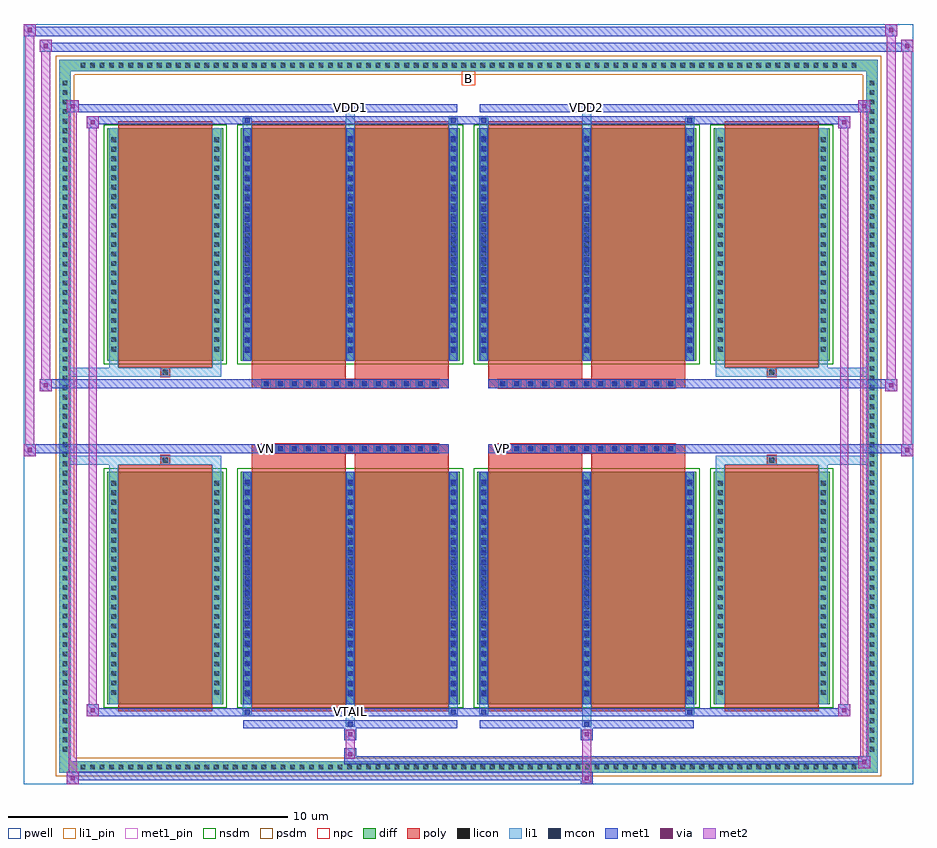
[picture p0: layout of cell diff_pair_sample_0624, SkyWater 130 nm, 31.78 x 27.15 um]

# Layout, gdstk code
import gdstk
lib = gdstk.Library(unit=1e-6, precision=5e-09)
def R(c, l, rs):  # rectangles x0, y0, x1, y1
    for r in rs: c.add(gdstk.rectangle(r[:2], r[2:], *l))
def A(c, l, x, y, w, h, nx, ny, dx, dy):  # array of equal rectangles
    R(c, l, [(x+i*dx, y+j*dy, x+i*dx+w, y+j*dy+h) for i in range(nx) for j in range(ny)])
def P(c, l, *ps):  # polygons
    for p in ps: c.add(gdstk.Polygon(p, *l))
pwell = (64, 44)
diff = (65, 20)
poly = (66, 20)
licon = (66, 44)
li1_pin = (67, 16)
li1 = (67, 20)
mcon = (67, 44)
met1_pin = (68, 16)
met1 = (68, 20)
via = (68, 44)
met2 = (69, 20)
nsdm = (93, 44)
psdm = (94, 20)
npc = (95, 20)

diff_pair_sample_0624 = lib.new_cell('diff_pair_sample_0624')
R(diff_pair_sample_0624, pwell, [(-15.89,-13.14,15.89,14.01), (-13.21,-11.33,-0.01,-0.795), (0.01,-11.33,13.21,-0.795), (-13.21,0.795,-0.01,11.33), (0.01,0.795,13.21,11.33)])
A(diff_pair_sample_0624, diff, -13.975, -12.74, 0.41, 0.41, 82, 2, 0.34, 25.07)
A(diff_pair_sample_0624, diff, -14.62, -12.105, 0.41, 0.41, 1, 71, 0, 0.34)
A(diff_pair_sample_0624, diff, 14.21, -12.105, 0.41, 0.41, 1, 71, 0, 0.34)
R(diff_pair_sample_0624, diff, [(-13.975,-12.74,13.975,-12.33), (-14.62,-12.105,-14.21,12.105), (14.21,-12.105,14.62,12.105), (-12.9,-10.285,-8.77,-1.985), (-8.13,-10.285,-0.32,-1.985), (0.32,-10.285,8.13,-1.985), (8.77,-10.285,12.9,-1.985), (-12.9,1.985,-8.77,10.285), (-8.13,1.985,-0.32,10.285), (0.32,1.985,8.13,10.285), (8.77,1.985,12.9,10.285), (-13.975,12.33,13.975,12.74)])
P(diff_pair_sample_0624, diff, [(14.62,12.74),(-14.62,12.74),(-14.62,-12.33),(-14.21,-12.33),(-14.21,12.33),(14.21,12.33),(14.21,-12.33),(-14.21,-12.33),(-14.62,-12.33),(-14.62,-12.74),(14.62,-12.74)])
A(diff_pair_sample_0624, poly, -7.39, -1.325, 0.33, 0.33, 13, 2, 0.5, 2.32)
A(diff_pair_sample_0624, poly, 1.06, -1.325, 0.33, 0.33, 13, 2, 0.5, 2.32)
R(diff_pair_sample_0624, poly, [(-12.51,-10.535,-9.16,-1.735), (-7.74,-10.535,-4.39,-1.735), (-4.06,-10.535,-0.71,-1.735), (0.71,-10.535,4.06,-1.735), (4.39,-10.535,7.74,-1.735), (9.16,-10.535,12.51,-1.735), (-11,-1.735,-10.67,-1.405), (-11,-1.735,-10.67,-1.405), (-7.74,-1.735,-4.39,-1.325), (-4.06,-1.735,-0.71,-1.325), (0.71,-1.735,4.06,-1.325), (4.39,-1.735,7.74,-1.325), (10.67,-1.735,11,-1.405), (10.67,-1.735,11,-1.405), (-7.74,-1.325,-0.71,-0.995), (0.71,-1.325,7.74,-0.995), (-7.74,0.995,-0.71,1.325), (0.71,0.995,7.74,1.325), (-7.74,1.325,-4.39,1.735), (-4.06,1.325,-0.71,1.735), (0.71,1.325,4.06,1.735), (4.39,1.325,7.74,1.735), (-11,1.405,-10.67,1.735), (-11,1.405,-10.67,1.735), (10.67,1.405,11,1.735), (10.67,1.405,11,1.735), (-12.51,1.735,-9.16,10.535), (-7.74,1.735,-4.39,10.535), (-4.06,1.735,-0.71,10.535), (0.71,1.735,4.06,10.535), (4.39,1.735,7.74,10.535), (9.16,1.735,12.51,10.535)])
A(diff_pair_sample_0624, licon, -13.855, -12.62, 0.17, 0.17, 82, 2, 0.34, 25.07)
A(diff_pair_sample_0624, licon, -14.5, -11.985, 0.17, 0.17, 1, 71, 0, 0.34)
A(diff_pair_sample_0624, licon, 14.33, -11.985, 0.17, 0.17, 1, 71, 0, 0.34)
A(diff_pair_sample_0624, licon, -12.76, -9.96, 0.17, 0.17, 1, 23, 0, 0.34)
A(diff_pair_sample_0624, licon, -9.08, -9.96, 0.17, 0.17, 1, 23, 0, 0.34)
A(diff_pair_sample_0624, licon, -7.99, -9.96, 0.17, 0.17, 3, 23, 3.68, 0.34)
A(diff_pair_sample_0624, licon, 0.46, -9.96, 0.17, 0.17, 3, 23, 3.68, 0.34)
A(diff_pair_sample_0624, licon, 8.91, -9.96, 0.17, 0.17, 1, 23, 0, 0.34)
A(diff_pair_sample_0624, licon, 12.59, -9.96, 0.17, 0.17, 1, 23, 0, 0.34)
A(diff_pair_sample_0624, licon, -7.31, -1.245, 0.17, 0.17, 13, 2, 0.5, 2.32)
A(diff_pair_sample_0624, licon, 1.14, -1.245, 0.17, 0.17, 13, 2, 0.5, 2.32)
A(diff_pair_sample_0624, licon, -12.76, 2.31, 0.17, 0.17, 1, 23, 0, 0.34)
A(diff_pair_sample_0624, licon, -9.08, 2.31, 0.17, 0.17, 1, 23, 0, 0.34)
A(diff_pair_sample_0624, licon, -7.99, 2.31, 0.17, 0.17, 3, 23, 3.68, 0.34)
A(diff_pair_sample_0624, licon, 0.46, 2.31, 0.17, 0.17, 3, 23, 3.68, 0.34)
A(diff_pair_sample_0624, licon, 8.91, 2.31, 0.17, 0.17, 1, 23, 0, 0.34)
A(diff_pair_sample_0624, licon, 12.59, 2.31, 0.17, 0.17, 1, 23, 0, 0.34)
R(diff_pair_sample_0624, licon, [(-10.92,-1.655,-10.75,-1.485), (10.75,-1.655,10.92,-1.485), (-10.92,1.485,-10.75,1.655), (10.75,1.485,10.92,1.655)])
R(diff_pair_sample_0624, li1_pin, [(-0.25,11.83,0.25,12.33)])
A(diff_pair_sample_0624, li1, -13.935, -12.7, 0.33, 0.33, 82, 2, 0.34, 25.07)
A(diff_pair_sample_0624, li1, -14.58, -12.065, 0.33, 0.33, 1, 71, 0, 0.34)
A(diff_pair_sample_0624, li1, 14.25, -12.065, 0.33, 0.33, 1, 71, 0, 0.34)
A(diff_pair_sample_0624, li1, -8.07, -10.285, 0.33, 8.3, 3, 2, 3.68, 12.27)
A(diff_pair_sample_0624, li1, 0.38, -10.285, 0.33, 8.3, 3, 2, 3.68, 12.27)
A(diff_pair_sample_0624, li1, -12.84, -10.04, 0.33, 0.33, 1, 23, 0, 0.34)
A(diff_pair_sample_0624, li1, -9.16, -10.04, 0.33, 0.33, 1, 23, 0, 0.34)
A(diff_pair_sample_0624, li1, -8.07, -10.04, 0.33, 0.33, 3, 23, 3.68, 0.34)
A(diff_pair_sample_0624, li1, 0.38, -10.04, 0.33, 0.33, 3, 23, 3.68, 0.34)
A(diff_pair_sample_0624, li1, 8.83, -10.04, 0.33, 0.33, 1, 23, 0, 0.34)
A(diff_pair_sample_0624, li1, 12.51, -10.04, 0.33, 0.33, 1, 23, 0, 0.34)
A(diff_pair_sample_0624, li1, -7.99, -10, 0.17, 0.17, 3, 22, 3.68, 0.36)
A(diff_pair_sample_0624, li1, -7.99, -10, 0.17, 7.73, 3, 2, 3.68, 12.27)
A(diff_pair_sample_0624, li1, 0.46, -10, 0.17, 0.17, 3, 22, 3.68, 0.36)
A(diff_pair_sample_0624, li1, 0.46, -10, 0.17, 7.73, 3, 2, 3.68, 12.27)
A(diff_pair_sample_0624, li1, -7.39, -1.325, 0.33, 0.33, 13, 2, 0.5, 2.32)
A(diff_pair_sample_0624, li1, 1.06, -1.325, 0.33, 0.33, 13, 2, 0.5, 2.32)
A(diff_pair_sample_0624, li1, -12.84, 2.23, 0.33, 0.33, 1, 23, 0, 0.34)
A(diff_pair_sample_0624, li1, -9.16, 2.23, 0.33, 0.33, 1, 23, 0, 0.34)
A(diff_pair_sample_0624, li1, -8.07, 2.23, 0.33, 0.33, 3, 23, 3.68, 0.34)
A(diff_pair_sample_0624, li1, 0.38, 2.23, 0.33, 0.33, 3, 23, 3.68, 0.34)
A(diff_pair_sample_0624, li1, 8.83, 2.23, 0.33, 0.33, 1, 23, 0, 0.34)
A(diff_pair_sample_0624, li1, 12.51, 2.23, 0.33, 0.33, 1, 23, 0, 0.34)
A(diff_pair_sample_0624, li1, -7.99, 2.27, 0.17, 0.17, 3, 22, 3.68, 0.36)
A(diff_pair_sample_0624, li1, 0.46, 2.27, 0.17, 0.17, 3, 22, 3.68, 0.36)
R(diff_pair_sample_0624, li1, [(-14.62,-12.74,-14.21,-12.33), (-14.62,-12.74,-14.21,-12.33), (-14.21,-12.74,14.21,-12.33), (14.21,-12.74,14.62,-12.33), (14.21,-12.74,14.62,-12.33), (-14.62,-12.33,-14.21,12.33), (14.21,-12.33,14.62,12.33), (-4.39,-11.09,-4.06,-10.285), (-4.31,-11.09,-4.14,-10.92), (4.06,-11.09,4.39,-10.285), (4.14,-11.09,4.31,-10.92), (-8.07,-10.66,-7.74,-10.285), (-7.99,-10.66,-7.82,-10.49), (-0.71,-10.66,-0.38,-10.285), (-0.63,-10.66,-0.46,-10.49), (0.38,-10.66,0.71,-10.285), (0.46,-10.66,0.63,-10.49), (7.74,-10.66,8.07,-10.285), (7.82,-10.66,7.99,-10.49), (-12.84,-10.285,-12.51,-1.985), (-9.16,-10.285,-8.83,-1.985), (8.83,-10.285,9.16,-1.985), (12.51,-10.285,12.84,-1.985), (-12.84,-1.985,-12.51,-1.405), (-9.16,-1.985,-8.83,-1.405), (8.83,-1.985,9.16,-1.405), (12.51,-1.985,12.84,-1.405), (-14.62,-1.735,-11,-1.405), (-12.84,-1.735,-11,-1.405), (-11,-1.735,-10.67,-1.405), (-10.67,-1.735,-8.83,-1.405), (8.83,-1.735,10.67,-1.405), (10.67,-1.735,11,-1.405), (10.67,-1.735,14.62,-1.405), (11,-1.735,12.84,-1.405), (-14.62,1.405,-11,1.735), (-12.84,1.405,-11,1.735), (-12.84,1.405,-12.51,1.985), (-11,1.405,-10.67,1.735), (-10.67,1.405,-8.83,1.735), (-9.16,1.405,-8.83,1.985), (8.83,1.405,10.67,1.735), (8.83,1.405,9.16,1.985), (10.67,1.405,11,1.735), (10.67,1.405,14.62,1.735), (11,1.405,12.84,1.735), (12.51,1.405,12.84,1.985), (-12.84,1.985,-12.51,10.285), (-9.16,1.985,-8.83,10.285), (8.83,1.985,9.16,10.285), (12.51,1.985,12.84,10.285), (-8.07,10.285,-7.74,10.66), (-4.39,10.285,-4.06,11.09), (-0.71,10.285,-0.38,10.66), (0.38,10.285,0.71,10.66), (4.06,10.285,4.39,11.09), (7.74,10.285,8.07,10.66), (-7.99,10.49,-7.82,10.66), (-0.63,10.49,-0.46,10.66), (0.46,10.49,0.63,10.66), (7.82,10.49,7.99,10.66), (-4.31,10.92,-4.14,11.09), (4.14,10.92,4.31,11.09), (-14.62,12.33,-14.21,12.74), (-14.62,12.33,-14.21,12.74), (-14.21,12.33,14.21,12.74), (14.21,12.33,14.62,12.74), (14.21,12.33,14.62,12.74)])
A(diff_pair_sample_0624, mcon, -7.99, -10, 0.17, 0.17, 3, 22, 3.68, 0.36)
A(diff_pair_sample_0624, mcon, 0.46, -10, 0.17, 0.17, 3, 22, 3.68, 0.36)
A(diff_pair_sample_0624, mcon, -7.31, -1.245, 0.17, 0.17, 13, 2, 0.5, 2.32)
A(diff_pair_sample_0624, mcon, 1.14, -1.245, 0.17, 0.17, 13, 2, 0.5, 2.32)
A(diff_pair_sample_0624, mcon, -7.99, 2.27, 0.17, 0.17, 3, 22, 3.68, 0.36)
A(diff_pair_sample_0624, mcon, 0.46, 2.27, 0.17, 0.17, 3, 22, 3.68, 0.36)
R(diff_pair_sample_0624, mcon, [(-4.31,-11.09,-4.14,-10.92), (4.14,-11.09,4.31,-10.92), (-7.99,-10.66,-7.82,-10.49), (-0.63,-10.66,-0.46,-10.49), (0.46,-10.66,0.63,-10.49), (7.82,-10.66,7.99,-10.49), (-7.99,10.49,-7.82,10.66), (-0.63,10.49,-0.46,10.66), (0.46,10.49,0.63,10.66), (7.82,10.49,7.99,10.66), (-4.31,10.92,-4.14,11.09), (4.14,10.92,4.31,11.09)])
R(diff_pair_sample_0624, met1_pin, [(-4.36,-10.7,-4.09,-10.43), (-7.36,-1.285,-7.09,-1.015), (1.09,-1.285,1.36,-1.015), (-4.36,10.88,-4.09,11.15), (4.09,10.88,4.36,11.15)])
A(diff_pair_sample_0624, met1, -8.05, -10.285, 0.29, 8.3, 3, 2, 3.68, 12.27)
A(diff_pair_sample_0624, met1, 0.4, -10.285, 0.29, 8.3, 3, 2, 3.68, 12.27)
A(diff_pair_sample_0624, met1, -8.05, -10.06, 0.29, 0.29, 3, 22, 3.68, 0.36)
A(diff_pair_sample_0624, met1, 0.4, -10.06, 0.29, 0.29, 3, 22, 3.68, 0.36)
A(diff_pair_sample_0624, met1, -7.37, -1.305, 0.29, 0.29, 13, 2, 0.5, 2.32)
A(diff_pair_sample_0624, met1, 1.08, -1.305, 0.29, 0.29, 13, 2, 0.5, 2.32)
A(diff_pair_sample_0624, met1, -8.05, 2.21, 0.29, 0.29, 3, 22, 3.68, 0.36)
A(diff_pair_sample_0624, met1, 0.4, 2.21, 0.29, 0.29, 3, 22, 3.68, 0.36)
R(diff_pair_sample_0624, met1, [(-14.35,-13.14,-13.92,-12.71), (4.01,-13.14,4.44,-12.71), (-14.35,-13,4.44,-12.71), (13.92,-12.57,14.35,-12.14), (-4.44,-12.43,14.35,-12.14), (-4.44,-12.29,-4.01,-11.86), (-4.44,-11.58,-4.01,-11.15), (4.01,-11.58,4.44,-11.15), (-8.05,-11.15,-0.4,-10.86), (-4.37,-11.15,-4.08,-10.86), (0.4,-11.15,8.05,-10.86), (4.08,-11.15,4.37,-10.86), (-13.64,-10.72,-13.21,-10.29), (-13.64,-10.72,-8.05,-10.43), (-8.05,-10.72,-7.76,-10.43), (-8.05,-10.72,-0.4,-10.43), (-0.69,-10.72,-0.4,-10.43), (-0.4,-10.72,0.4,-10.43), (0.4,-10.72,0.69,-10.43), (0.4,-10.72,8.05,-10.43), (7.76,-10.72,8.05,-10.43), (8.05,-10.72,13.64,-10.43), (13.21,-10.72,13.64,-10.29), (-15.89,-1.425,-15.46,-0.995), (15.46,-1.425,15.89,-0.995), (-15.89,-1.325,-0.71,-0.995), (-7.74,-1.325,-0.71,-0.995), (0.71,-1.325,7.74,-0.995), (0.71,-1.325,15.89,-0.995), (-15.32,0.895,-14.89,1.325), (14.89,0.895,15.32,1.325), (-15.32,0.995,-7.74,1.325), (-7.74,0.995,-0.71,1.325), (0.71,0.995,7.74,1.325), (7.74,0.995,15.32,1.325), (-13.64,10.29,-13.21,10.72), (13.21,10.29,13.64,10.72), (-13.64,10.43,-8.05,10.72), (-8.05,10.43,-7.76,10.72), (-8.05,10.43,-0.4,10.72), (-0.69,10.43,-0.4,10.72), (-0.4,10.43,0.4,10.72), (0.4,10.43,0.69,10.72), (0.4,10.43,8.05,10.72), (7.76,10.43,8.05,10.72), (8.05,10.43,13.64,10.72), (-14.35,10.86,-13.92,11.29), (-14.35,10.86,-8.05,11.15), (-8.05,10.86,-0.4,11.15), (-4.37,10.86,-4.08,11.15), (0.4,10.86,8.05,11.15), (4.08,10.86,4.37,11.15), (8.05,10.86,14.35,11.15), (13.92,10.86,14.35,11.29), (-15.32,13.01,-14.89,13.44), (-15.32,13.01,-13.21,13.34), (-13.21,13.01,13.21,13.34), (13.21,13.01,15.89,13.34), (15.46,13.01,15.89,13.44), (-15.89,13.58,-15.46,14.01), (-15.89,13.58,-13.21,13.91), (-13.21,13.58,13.21,13.91), (13.21,13.58,15.32,13.91), (14.89,13.58,15.32,14.01)])
R(diff_pair_sample_0624, via, [(-14.21,-13,-14.06,-12.85), (4.15,-13,4.3,-12.85), (14.06,-12.43,14.21,-12.28), (-4.3,-12.15,-4.15,-12), (-4.3,-11.44,-4.15,-11.29), (4.15,-11.44,4.3,-11.29), (-13.5,-10.58,-13.35,-10.43), (13.35,-10.58,13.5,-10.43), (-15.75,-1.285,-15.6,-1.135), (15.6,-1.285,15.75,-1.135), (-15.18,1.035,-15.03,1.185), (15.03,1.035,15.18,1.185), (-13.5,10.43,-13.35,10.58), (13.35,10.43,13.5,10.58), (-14.21,11,-14.06,11.15), (14.06,11,14.21,11.15), (-15.18,13.15,-15.03,13.3), (15.6,13.15,15.75,13.3), (-15.75,13.72,-15.6,13.87), (15.03,13.72,15.18,13.87)])
R(diff_pair_sample_0624, met2, [(-14.35,-13.14,-13.92,-12.71), (-14.28,-13.14,-13.99,11.29), (-13.99,-13.14,-13.92,-12.71), (-14.3,-13.09,-13.97,-12.76), (4.06,-13.09,4.39,-12.76), (4.06,-12.76,4.39,-11.53), (13.92,-12.57,14.35,-12.14), (13.99,-12.57,14.28,11.29), (14.28,-12.57,14.35,-12.14), (13.97,-12.52,14.3,-12.19), (-4.39,-12.24,-4.06,-11.91), (-4.39,-11.91,-4.06,-11.53), (-4.39,-11.53,-4.06,-11.2), (4.06,-11.53,4.39,-11.2), (-13.64,-10.72,-13.21,-10.29), (-13.57,-10.72,-13.28,10.72), (-13.28,-10.72,-13.21,-10.29), (13.21,-10.72,13.64,-10.29), (13.28,-10.72,13.57,10.72), (13.57,-10.72,13.64,-10.29), (-13.59,-10.67,-13.26,-10.34), (13.26,-10.67,13.59,-10.34), (-15.89,-1.425,-15.46,-0.995), (-15.84,-1.425,-15.51,14.01), (-15.51,-1.425,-15.46,-0.995), (15.46,-1.425,15.89,-0.995), (15.51,-1.425,15.84,13.44), (15.84,-1.425,15.89,-0.995), (-15.84,-1.375,-15.51,-1.045), (15.51,-1.375,15.84,-1.045), (-15.32,0.895,-14.89,1.325), (-15.27,0.895,-14.94,13.44), (-14.94,0.895,-14.89,1.325), (14.89,0.895,15.32,1.325), (14.94,0.895,15.27,14.01), (15.27,0.895,15.32,1.325), (-15.27,0.945,-14.94,1.275), (14.94,0.945,15.27,1.275), (-13.64,10.29,-13.21,10.72), (-13.28,10.29,-13.21,10.72), (13.21,10.29,13.64,10.72), (13.57,10.29,13.64,10.72), (-13.59,10.34,-13.26,10.67), (13.26,10.34,13.59,10.67), (-14.35,10.86,-13.92,11.29), (-13.99,10.86,-13.92,11.29), (13.92,10.86,14.35,11.29), (14.28,10.86,14.35,11.29), (-14.3,10.91,-13.97,11.24), (13.97,10.91,14.3,11.24), (-15.32,13.01,-14.89,13.44), (-14.94,13.01,-14.89,13.44), (15.46,13.01,15.89,13.44), (15.84,13.01,15.89,13.44), (-15.27,13.06,-14.94,13.39), (15.51,13.06,15.84,13.39), (-15.89,13.58,-15.46,14.01), (-15.51,13.58,-15.46,14.01), (14.89,13.58,15.32,14.01), (15.27,13.58,15.32,14.01), (-15.84,13.63,-15.51,13.96), (14.94,13.63,15.27,13.96)])
R(diff_pair_sample_0624, nsdm, [(-13.03,-10.415,-8.64,-1.855), (-8.26,-10.415,-0.19,-1.855), (0.19,-10.415,8.26,-1.855), (8.64,-10.415,13.03,-1.855), (-13.03,1.855,-8.64,10.415), (-8.26,1.855,-0.19,10.415), (0.19,1.855,8.26,10.415), (8.64,1.855,13.03,10.415)])
P(diff_pair_sample_0624, psdm, [(14.75,12.87),(-14.75,12.87),(-14.75,-12.2),(-14.08,-12.2),(-14.08,12.2),(14.08,12.2),(14.08,-12.2),(-14.08,-12.2),(-14.75,-12.2),(-14.75,-12.87),(14.75,-12.87)])
A(diff_pair_sample_0624, npc, -7.41, -1.345, 0.37, 0.37, 13, 2, 0.5, 2.32)
A(diff_pair_sample_0624, npc, 1.04, -1.345, 0.37, 0.37, 13, 2, 0.5, 2.32)
R(diff_pair_sample_0624, npc, [(-11.02,-1.755,-10.65,-1.385), (10.65,-1.755,11.02,-1.385), (-7.41,-1.345,-6.54,-0.975), (-7.41,-1.345,-6.54,-0.975), (-6.91,-1.345,-6.04,-0.975), (-6.91,-1.345,-6.04,-0.975), (-6.41,-1.345,-5.54,-0.975), (-6.41,-1.345,-5.54,-0.975), (-5.91,-1.345,-5.04,-0.975), (-5.91,-1.345,-5.04,-0.975), (-5.41,-1.345,-4.54,-0.975), (-5.41,-1.345,-4.54,-0.975), (-4.91,-1.345,-4.04,-0.975), (-4.91,-1.345,-4.04,-0.975), (-4.41,-1.345,-3.54,-0.975), (-4.41,-1.345,-3.54,-0.975), (-3.91,-1.345,-3.04,-0.975), (-3.91,-1.345,-3.04,-0.975), (-3.41,-1.345,-2.54,-0.975), (-3.41,-1.345,-2.54,-0.975), (-2.91,-1.345,-2.04,-0.975), (-2.91,-1.345,-2.04,-0.975), (-2.41,-1.345,-1.54,-0.975), (-2.41,-1.345,-1.54,-0.975), (-1.91,-1.345,-1.04,-0.975), (-1.91,-1.345,-1.04,-0.975), (1.04,-1.345,1.91,-0.975), (1.04,-1.345,1.91,-0.975), (1.54,-1.345,2.41,-0.975), (1.54,-1.345,2.41,-0.975), (2.04,-1.345,2.91,-0.975), (2.04,-1.345,2.91,-0.975), (2.54,-1.345,3.41,-0.975), (2.54,-1.345,3.41,-0.975), (3.04,-1.345,3.91,-0.975), (3.04,-1.345,3.91,-0.975), (3.54,-1.345,4.41,-0.975), (3.54,-1.345,4.41,-0.975), (4.04,-1.345,4.91,-0.975), (4.04,-1.345,4.91,-0.975), (4.54,-1.345,5.41,-0.975), (4.54,-1.345,5.41,-0.975), (5.04,-1.345,5.91,-0.975), (5.04,-1.345,5.91,-0.975), (5.54,-1.345,6.41,-0.975), (5.54,-1.345,6.41,-0.975), (6.04,-1.345,6.91,-0.975), (6.04,-1.345,6.91,-0.975), (6.54,-1.345,7.41,-0.975), (6.54,-1.345,7.41,-0.975), (-7.41,0.975,-6.54,1.345), (-7.41,0.975,-6.54,1.345), (-6.91,0.975,-6.04,1.345), (-6.91,0.975,-6.04,1.345), (-6.41,0.975,-5.54,1.345), (-6.41,0.975,-5.54,1.345), (-5.91,0.975,-5.04,1.345), (-5.91,0.975,-5.04,1.345), (-5.41,0.975,-4.54,1.345), (-5.41,0.975,-4.54,1.345), (-4.91,0.975,-4.04,1.345), (-4.91,0.975,-4.04,1.345), (-4.41,0.975,-3.54,1.345), (-4.41,0.975,-3.54,1.345), (-3.91,0.975,-3.04,1.345), (-3.91,0.975,-3.04,1.345), (-3.41,0.975,-2.54,1.345), (-3.41,0.975,-2.54,1.345), (-2.91,0.975,-2.04,1.345), (-2.91,0.975,-2.04,1.345), (-2.41,0.975,-1.54,1.345), (-2.41,0.975,-1.54,1.345), (-1.91,0.975,-1.04,1.345), (-1.91,0.975,-1.04,1.345), (1.04,0.975,1.91,1.345), (1.04,0.975,1.91,1.345), (1.54,0.975,2.41,1.345), (1.54,0.975,2.41,1.345), (2.04,0.975,2.91,1.345), (2.04,0.975,2.91,1.345), (2.54,0.975,3.41,1.345), (2.54,0.975,3.41,1.345), (3.04,0.975,3.91,1.345), (3.04,0.975,3.91,1.345), (3.54,0.975,4.41,1.345), (3.54,0.975,4.41,1.345), (4.04,0.975,4.91,1.345), (4.04,0.975,4.91,1.345), (4.54,0.975,5.41,1.345), (4.54,0.975,5.41,1.345), (5.04,0.975,5.91,1.345), (5.04,0.975,5.91,1.345), (5.54,0.975,6.41,1.345), (5.54,0.975,6.41,1.345), (6.04,0.975,6.91,1.345), (6.04,0.975,6.91,1.345), (6.54,0.975,7.41,1.345), (6.54,0.975,7.41,1.345), (-11.02,1.385,-10.65,1.755), (10.65,1.385,11.02,1.755)])
diff_pair_sample_0624.add(gdstk.Label('VTAIL', (-4.225,-10.565), layer=68, texttype=5))
diff_pair_sample_0624.add(gdstk.Label('VN', (-7.225,-1.15), layer=68, texttype=5))
diff_pair_sample_0624.add(gdstk.Label('VP', (1.225,-1.15), layer=68, texttype=5))
diff_pair_sample_0624.add(gdstk.Label('B', (0,12.08), layer=67, texttype=5))
diff_pair_sample_0624.add(gdstk.Label('VDD2', (4.225,11.015), layer=68, texttype=5))
diff_pair_sample_0624.add(gdstk.Label('VDD1', (-4.225,11.015), layer=68, texttype=5))

lib.write_gds('diff_pair_sample_0624.gds')
